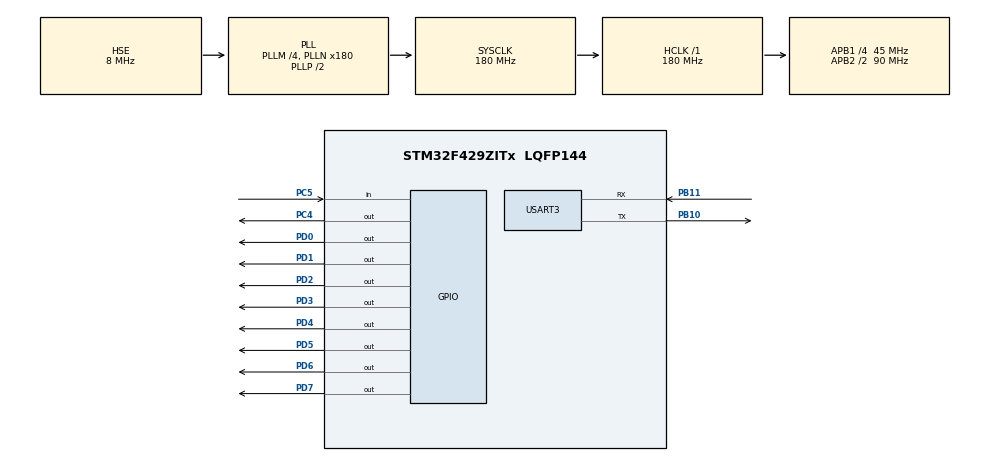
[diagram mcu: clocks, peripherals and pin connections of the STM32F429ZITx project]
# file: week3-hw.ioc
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Mcu.Family=STM32F4
Mcu.Name=STM32F429ZITx
Mcu.Package=LQFP144
NVIC.PriorityGroup=NVIC_PRIORITYGROUP_4
PB10.Mode=Asynchronous
PB10.Signal=USART3_TX
PB11.Mode=Asynchronous
PB11.Signal=USART3_RX
PC4.Signal=GPIO_Output
PC5.Signal=GPIO_Input
PD0.Signal=GPIO_Output
PD1.Signal=GPIO_Output
PD2.Signal=GPIO_Output
PD3.Signal=GPIO_Output
PD4.Signal=GPIO_Output
PD5.Signal=GPIO_Output
PD6.Signal=GPIO_Output
PD7.Signal=GPIO_Output
PH0/OSC_IN.Mode=HSE-External-Oscillator
PH0/OSC_IN.Signal=RCC_OSC_IN
PH1/OSC_OUT.Mode=HSE-External-Oscillator
PH1/OSC_OUT.Signal=RCC_OSC_OUT
ProjectManager.HeapSize=0x200
ProjectManager.StackSize=0x400
ProjectManager.TargetToolchain=MDK-ARM V5.27
RCC.48MHZClocksFreq_Value=90000000
RCC.AHBFreq_Value=180000000
RCC.APB1CLKDivider=RCC_HCLK_DIV4
RCC.APB1Freq_Value=45000000
RCC.APB1TimFreq_Value=90000000
RCC.APB2CLKDivider=RCC_HCLK_DIV2
RCC.APB2Freq_Value=90000000
RCC.APB2TimFreq_Value=180000000
RCC.CortexFreq_Value=180000000
RCC.HCLKFreq_Value=180000000
RCC.HSE_VALUE=8000000
RCC.HSI_VALUE=16000000
RCC.LSE_VALUE=32768
RCC.PLLM=4
RCC.PLLN=180
RCC.PLLSourceVirtual=RCC_PLLSOURCE_HSE
RCC.SYSCLKFreq_VALUE=180000000
RCC.SYSCLKSource=RCC_SYSCLKSOURCE_PLLCLK
RCC.VCOOutputFreq_Value=360000000
TIM7.Period=65536 - 1
TIM7.Prescaler=90 - 1
USART3.VirtualMode=VM_ASYNC
VP_TIM7_VS_ClockSourceINT.Mode=Enable_Timer
board=custom

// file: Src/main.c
/* USER CODE BEGIN Header */
/**
  ******************************************************************************
  * @file           : main.c
  * @brief          : Main program body
  ******************************************************************************
  * @attention
  *
  * <h2><center>&copy; Copyright (c) 2020 STMicroelectronics.
  * All rights reserved.</center></h2>
  *
  * This software component is licensed by ST under BSD 3-Clause license,
  * the "License"; You may not use this file except in compliance with the
  * License. You may obtain a copy of the License at:
  *                        opensource.org/licenses/BSD-3-Clause
  *
  ******************************************************************************
  */
/* USER CODE END Header */

#include "main.h"
#include "tim.h"
#include "usart.h"
#include "gpio.h"

/* USER CODE BEGIN Includes */
#include <stdio.h>

/* USER CODE END Includes */

/* USER CODE BEGIN PV */
uint32_t local_time, sensor_time;
uint32_t distance;
char buffer[10];

/* USER CODE END PV */

void SystemClock_Config(void);
/* USER CODE BEGIN PFP */
void delay_us(uint16_t us);
uint32_t hcsr04_read (void);

/* USER CODE END PFP */

int main(void)
{

  /* MCU Configuration--------------------------------------------------------*/

  /* Reset of all peripherals, Initializes the Flash interface and the Systick. */
  HAL_Init();

  /* Configure the system clock */
  SystemClock_Config();

  /* Initialize all configured peripherals */
  MX_GPIO_Init();
  MX_USART3_UART_Init();
  MX_TIM7_Init();
  /* USER CODE BEGIN 2 */
	HAL_TIM_Base_Start(&htim7);

  /* USER CODE END 2 */

  /* Infinite loop */
  /* USER CODE BEGIN WHILE */
  while (1)
  {
		sensor_time = hcsr04_read();
		distance = sensor_time * .034/2;
		sprintf(buffer, "%d cm\r\n", (int)distance);
		HAL_UART_Transmit(&huart3, (uint8_t *)buffer, 10, 10);
		HAL_Delay(1000);
    /* USER CODE END WHILE */

  }
}

void SystemClock_Config(void)
{
  RCC_OscInitTypeDef RCC_OscInitStruct = {0};
  RCC_ClkInitTypeDef RCC_ClkInitStruct = {0};

  /** Configure the main internal regulator output voltage
  */
  __HAL_RCC_PWR_CLK_ENABLE();
  __HAL_PWR_VOLTAGESCALING_CONFIG(PWR_REGULATOR_VOLTAGE_SCALE1);
  /** Initializes the CPU, AHB and APB busses clocks
  */
  RCC_OscInitStruct.OscillatorType = RCC_OSCILLATORTYPE_HSE;
  RCC_OscInitStruct.HSEState = RCC_HSE_ON;
  RCC_OscInitStruct.PLL.PLLState = RCC_PLL_ON;
  RCC_OscInitStruct.PLL.PLLSource = RCC_PLLSOURCE_HSE;
  RCC_OscInitStruct.PLL.PLLM = 4;
  RCC_OscInitStruct.PLL.PLLN = 180;
  RCC_OscInitStruct.PLL.PLLP = RCC_PLLP_DIV2;
  RCC_OscInitStruct.PLL.PLLQ = 4;
  if (HAL_RCC_OscConfig(&RCC_OscInitStruct) != HAL_OK)
  {
    Error_Handler();
  }
  /** Activate the Over-Drive mode
  */
  if (HAL_PWREx_EnableOverDrive() != HAL_OK)
  {
    Error_Handler();
  }
  /** Initializes the CPU, AHB and APB busses clocks
  */
  RCC_ClkInitStruct.ClockType = RCC_CLOCKTYPE_HCLK|RCC_CLOCKTYPE_SYSCLK
                              |RCC_CLOCKTYPE_PCLK1|RCC_CLOCKTYPE_PCLK2;
  RCC_ClkInitStruct.SYSCLKSource = RCC_SYSCLKSOURCE_PLLCLK;
  RCC_ClkInitStruct.AHBCLKDivider = RCC_SYSCLK_DIV1;
  RCC_ClkInitStruct.APB1CLKDivider = RCC_HCLK_DIV4;
  RCC_ClkInitStruct.APB2CLKDivider = RCC_HCLK_DIV2;

  if (HAL_RCC_ClockConfig(&RCC_ClkInitStruct, FLASH_LATENCY_5) != HAL_OK)
  {
    Error_Handler();
  }
}

/* USER CODE BEGIN 4 */
void delay_us(uint16_t us) {
	__HAL_TIM_SET_COUNTER(&htim7, 0);
	while (__HAL_TIM_GET_COUNTER(&htim7) < us);
}

uint32_t hcsr04_read (void)
{
 local_time=0;
 HAL_GPIO_WritePin(GPIOC, GPIO_PIN_4, GPIO_PIN_RESET);  // pull the TRIG pin HIGH
 delay_us(2);  // wait for 2 us

 HAL_GPIO_WritePin(GPIOC, GPIO_PIN_4, GPIO_PIN_SET);  // pull the TRIG pin HIGH
 delay_us(10);  // wait for 10 us
 HAL_GPIO_WritePin(GPIOC, GPIO_PIN_4, GPIO_PIN_RESET);  // pull the TRIG pin low

 // read the time for which the pin is high

 while (!(HAL_GPIO_ReadPin(GPIOC, GPIO_PIN_5)));  // wait for the ECHO pin to go high
 while (HAL_GPIO_ReadPin(GPIOC, GPIO_PIN_5))    // while the pin is high
	{
		local_time++;   // measure time for which the pin is high
		delay_us(1);
	}
 return local_time;
}
/* USER CODE END 4 */

void Error_Handler(void)
{
}

/************************ (C) COPYRIGHT STMicroelectronics *****END OF FILE****/
